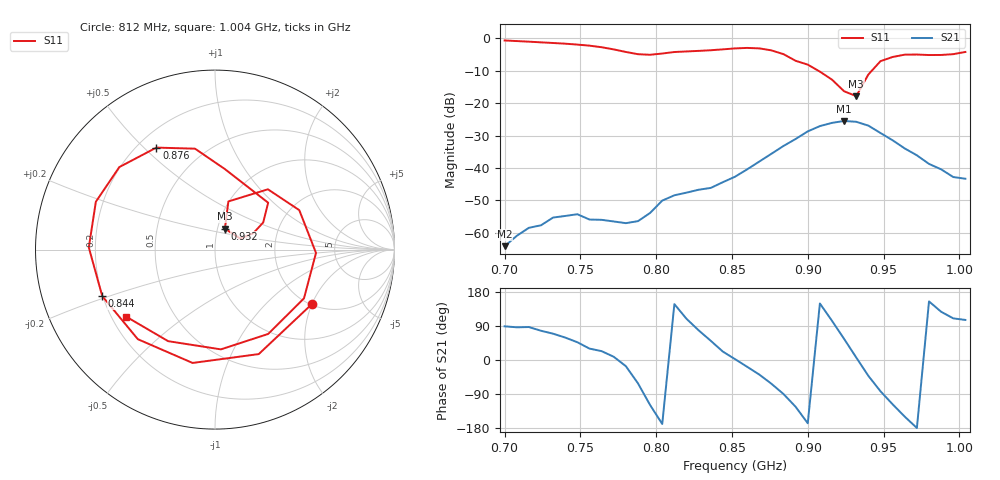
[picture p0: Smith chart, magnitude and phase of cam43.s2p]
# Hz S RI R 50
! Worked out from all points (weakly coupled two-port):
!   39 points, 700 MHz to 1.004 GHz, reference 50 ohm
!   highest |S21| = -25.46 dB at 924 MHz (marker M1); lowest = -64.1 dB at 700 MHz (marker M2)
!   lowest |S11| = -17.8 dB at 932 MHz (marker M3), VSWR 1.30, Z = 54.2 + j12.9 ohm
!   |S11| at or under -10 dB: 907.2 MHz to 942.2 MHz (35 MHz wide, 3.78 % of centre)
!   S12 and S22 are empty: the file has one direction only
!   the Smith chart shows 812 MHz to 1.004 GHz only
!   S11 on the Smith chart (normalised r, x): 812 MHz: 2.01, -1.99; 844 MHz: 0.20, -0.19; 876 MHz: 0.27, +0.55; 932 MHz: 1.08, +0.26; 1.004 GHz: 0.26, -0.32
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7e8  0.7664 0.5314  1.18e-05 0.000623  0 0  0 0
7.24e8  0.8325 -0.2575  0.000291 0.00128  0 0  0 0
7.4e8  0.4448 -0.7027  0.000935 0.00156  0 0  0 0
7.56e8  -0.1973 -0.7498  0.00139 0.000804  0 0  0 0
7.72e8  -0.652 -0.1887  0.00148 0.000222  0 0  0 0
7.8e8  -0.5739 0.233  0.00135 -0.000396  0 0  0 0
7.88e8  -0.2184 0.5292  0.000719 -0.00133  0 0  0 0
7.96e8  0.2607 0.4961  -0.000982 -0.00178  0 0  0 0
8.04e8  0.5695 0.1391  -0.00308 -0.000611  0 0  0 0
8.12e8  0.5379 -0.3054  -0.0032 0.00205  0 0  0 0
8.28e8  -0.125 -0.6315  0.000933 0.00454  0 0  0 0
8.44e8  -0.6281 -0.2592  0.00561 0.00229  0 0  0 0
8.52e8  -0.7031 0.0119  0.00734 0.000293  0 0  0 0
8.76e8  -0.3267 0.5683  0.00765 -0.0147  0 0  0 0
9e8  0.2962 0.2613  -0.0359 -0.00831  0 0  0 0
9.08e8  0.2685 0.151  -0.0382 0.0227  0 0  0 0
9.24e8  0.1405 0.0613  0.0301 0.044  0 0  0 0
9.32e8  0.0551 0.1167  0.0515 0.00584  0 0  0 0
9.56e8  0.4695 0.2198  -0.0122 -0.0239  0 0  0 0
9.64e8  0.5628 -0.0187  -0.0173 -0.0102  0 0  0 0
9.8e8  0.2962 -0.47  -0.0105 0.00497  0 0  0 0
1.004e9  -0.4933 -0.3745  -0.00185 0.00659  0 0  0 0
